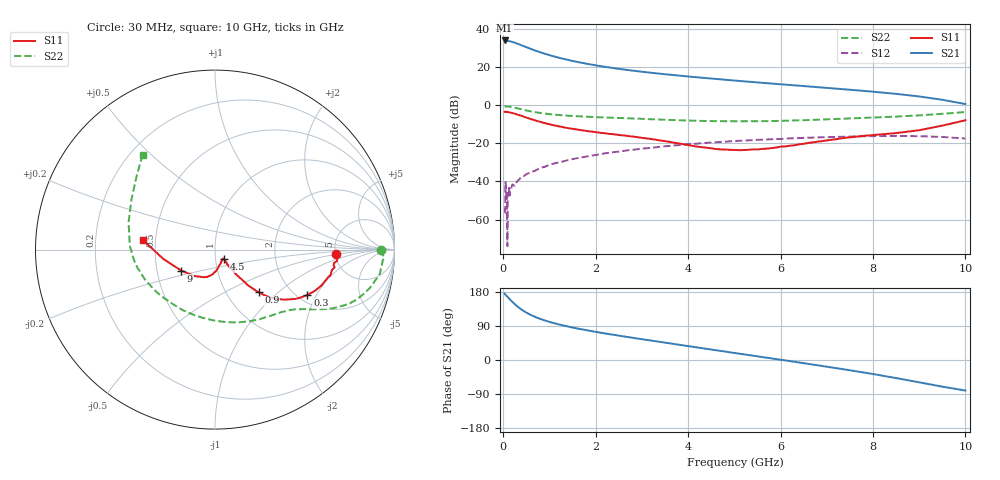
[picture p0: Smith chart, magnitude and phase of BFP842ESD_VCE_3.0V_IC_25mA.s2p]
! Infineon Technologies  Discrete & RF Semiconductors
! BFP842ESD
! VCE =  3.0 V,  IC =  25 mA
! Common Emitter S-Parameters:  May 2012
# GHz  S  MA  R  50
!  f  S11  S21  S12  S22
! GHz  MAG  ANG  MAG  ANG  MAG  ANG  MAG  ANG
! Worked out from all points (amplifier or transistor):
!   99 points, 30 MHz to 10 GHz, reference 50 ohm
!   highest |S21| = 34.1 dB at 30 MHz (marker M1)
!   |S21| within 3 dB of that: start of sweep to 444.5 MHz
!   unconditionally stable (mu >= 1): 87.27 MHz to 91.94 MHz; 1.969 GHz to end of sweep
!   at 350 MHz: K = 0.59, MSG = 35.4 dB, |S12| = -38.8 dB
!   at 3.5 GHz: K = 1.06, MAG = 17.5 dB, |S12| = -21.5 dB
!   at 10 GHz: K = 1.69, MAG = 4.2 dB, |S12| = -17.5 dB
!   S11 on the Smith chart (normalised r, x): 30 MHz: 5.09, -0.50; 300 MHz: 2.25, -1.69; 900 MHz: 1.41, -0.76; 4.5 GHz: 1.10, -0.12; 9 GHz: 0.67, -0.16; 10 GHz: 0.43, +0.05
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0.03  0.6742 -2.3  50.42 175.0  0.0015 72.7  0.9235 0.0
0.05  0.6841 -5.3  49.66 172.0  0.0097 51.5  0.9448 -2.9
0.08  0.6668 -7.7  49.56 168.1  0.0042 46.7  0.9326 -5.0
0.09  0.6745 -8.4  48.81 167.2  0.0002 75.2  0.9356 -5.6
0.1  0.6629 -9.7  48.98 165.9  0.005 60.4  0.9294 -6.8
0.15  0.6455 -14.4  47.8 159.1  0.0054 66.9  0.9128 -10.4
0.25  0.6019 -22.5  44.07 147.3  0.0076 77.2  0.8632 -16.7
0.3  0.5734 -26.1  41.73 142.0  0.0101 68.4  0.8369 -19.4
0.4  0.5259 -31.5  37.49 132.7  0.0136 72.3  0.7829 -23.4
0.6  0.434 -39.0  30.13 118.7  0.0175 67.7  0.6907 -28.7
0.7  0.3988 -41.4  27.22 113.3  0.0194 66.0  0.6568 -30.4
0.9  0.34 -44.3  22.57 104.4  0.0243 65.5  0.6053 -33.2
1.2  0.2805 -46.8  17.79 94.0  0.0318 62.7  0.5559 -36.8
1.7  0.2205 -48.2  13.04 81.0  0.043 59.1  0.5082 -43.2
2.4  0.1733 -49.9  9.42 66.2  0.0592 52.9  0.4683 -54.0
3.4  0.1189 -50.5  6.741 47.7  0.0817 40.4  0.4217 -73.6
4.5  0.074 -46.7  5.047 27.6  0.1056 25.9  0.3858 -100.8
5.1  0.0662 -49.3  4.37 16.8  0.1169 17.0  0.3809 -115.5
6.7  0.1063 -81.8  3.063 -12.1  0.1421 -6.4  0.4145 -152.3
8.5  0.1862 -127.5  1.997 -47.7  0.1568 -38.4  0.5049 162.5
9  0.2216 -148.2  1.707 -58.9  0.1546 -48.8  0.543 149.0
10  0.4043 172.5  1.079 -80.6  0.1341 -71.3  0.6649 127.4
